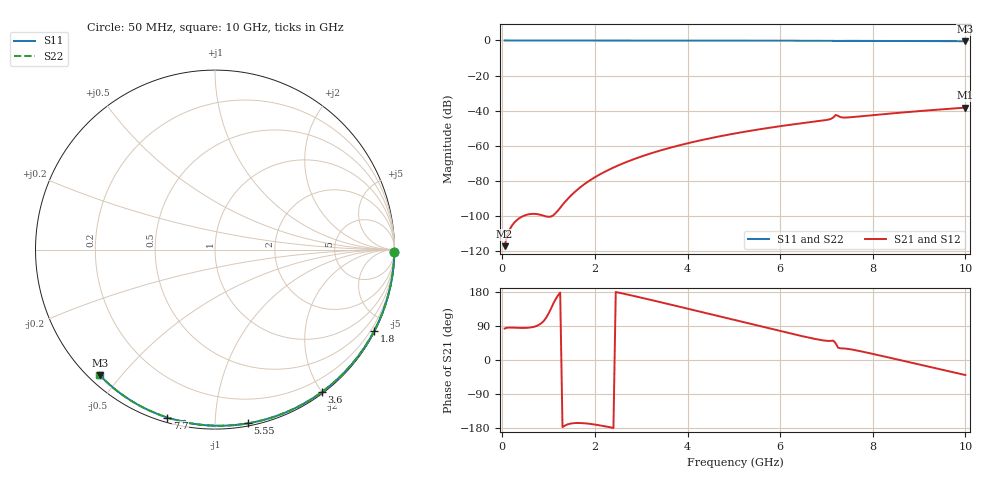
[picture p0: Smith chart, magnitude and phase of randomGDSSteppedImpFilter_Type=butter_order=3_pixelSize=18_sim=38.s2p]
! freq	dB(S11)	phase(S11)	dB(S12)	phase(S12)
!  dB(S21)	phase(S21)	dB(S22)	phase(S22)
!S-par simulation data
#  GHz  S  DB  R 50
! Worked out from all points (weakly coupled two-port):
!   200 points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, 50 MHz to 10 GHz, reference 50 ohm
!   highest |S21| = -38.30 dB at 10 GHz (marker M1); lowest = -117.2 dB at 50 MHz (marker M2)
!   lowest |S11| = -0.4 dB at 10 GHz (marker M3), VSWR 38.70, Z = 1.54 - j22 ohm
!   |S11| at or under -10 dB: nowhere
!   |S22| runs from -0.4 to 0.0 dB; largest |S21 - S12| = 0
!   S11 on the Smith chart (normalised r, x): 50 MHz: open; 1.8 GHz: 0.04, -4.14; 3.6 GHz: 0.02, -2.00; 5.55 GHz: 0.02, -1.21; 7.7 GHz: 0.02, -0.76; 10 GHz: 0.03, -0.44
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0.05  -0.01 -0.8  -117.24 83.1  -117.24 83.1  -0.01 -0.8
0.9  -0.02 -13.7  -99.97 103.6  -99.97 103.6  -0.02 -13.8
1.75  -0.03 -26.4  -82.34 -166.7  -82.34 -166.7  -0.03 -26.5
1.8  -0.03 -27.2  -81.38 -167.3  -81.38 -167.3  -0.03 -27.3
1.9  -0.04 -28.7  -79.60 -168.6  -79.60 -168.6  -0.04 -28.8
2.25  -0.04 -33.8  -74.34 -175.7  -74.34 -175.7  -0.04 -33.9
2.65  -0.05 -39.6  -69.60 174.2  -69.60 174.2  -0.05 -39.8
3  -0.06 -44.7  -66.16 164.5  -66.16 164.5  -0.06 -44.8
3.4  -0.07 -50.3  -62.81 153.1  -62.81 153.1  -0.07 -50.5
3.6  -0.07 -53.1  -61.32 147.2  -61.32 147.2  -0.07 -53.3
4.3  -0.09 -62.8  -56.80 126.6  -56.80 126.6  -0.09 -63.0
5.05  -0.11 -72.8  -52.88 104.3  -52.88 104.3  -0.11 -73.0
5.55  -0.13 -79.3  -50.66 89.6  -50.66 89.6  -0.13 -79.6
6.7  -0.18 -93.8  -46.39 56.9  -46.39 56.9  -0.18 -94.1
7.05  -0.20 -98.2  -45.07 50.4  -45.07 50.4  -0.20 -98.4
7.15  -0.23 -99.6  -43.83 50.8  -43.83 50.8  -0.20 -99.6
7.2  -0.28 -100.0  -42.47 44.0  -42.47 44.0  -0.21 -100.2
7.3  -0.24 -100.9  -43.69 30.8  -43.69 30.8  -0.22 -101.4
7.35  -0.23 -101.5  -43.92 30.7  -43.92 30.7  -0.22 -102.0
7.7  -0.24 -105.8  -43.34 24.0  -43.34 24.0  -0.24 -106.2
8.35  -0.29 -113.5  -41.74 6.5  -41.74 6.5  -0.29 -113.8
10  -0.45 -132.4  -38.30 -39.7  -38.30 -39.7  -0.45 -132.8
